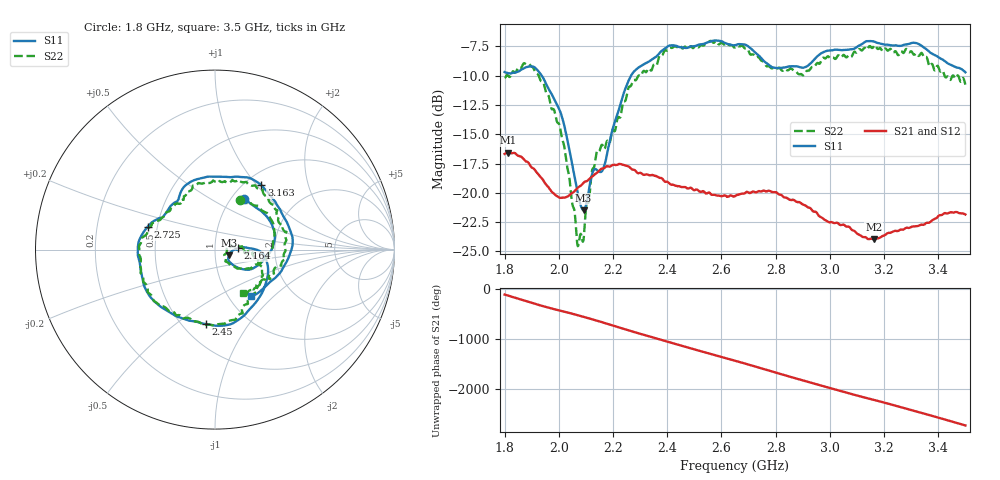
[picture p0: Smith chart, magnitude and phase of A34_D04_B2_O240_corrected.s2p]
! Created with skrf 1.9.0 (http://scikit-rf.org).
# Hz S RI R 50.0
!freq ReS11 ImS11 ReS21 ImS21 ReS12 ImS12 ReS22 ImS22
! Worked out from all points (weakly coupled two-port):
!   1601 points, 1.8 GHz to 3.5 GHz, reference 50 ohm
!   highest |S21| = -16.58 dB at 1.812 GHz (marker M1); lowest = -24.0 dB at 3.162 GHz (marker M2)
!   lowest |S11| = -21.5 dB at 2.091 GHz (marker M3), VSWR 1.18, Z = 58.3 - j3.67 ohm
!   |S11| at or under -10 dB: 1.937 GHz to 2.267 GHz (329.6 MHz wide, 15.7 % of centre)
!   |S22| runs from -24.6 to -7.0 dB; largest |S21 - S12| = 0.0024
!   S11 on the Smith chart (normalised r, x): 1.8 GHz: 1.14, +0.73; 2.164 GHz: 1.29, +0.02; 2.45 GHz: 0.64, -0.65; 2.725 GHz: 0.44, +0.13; 3.163 GHz: 1.18, +1.06; 3.5 GHz: 1.26, -0.73
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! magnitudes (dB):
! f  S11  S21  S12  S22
! 1.8 GHz  -9.7  -16.7  -16.7  -10.2
! 1.812 GHz  -9.8  -16.6  -16.6  -10.0
! 1.883 GHz  -9.3  -17.4  -17.4  -9.0
! 1.942 GHz  -10.2  -18.9  -18.9  -10.6
! 2.011 GHz  -13.5  -20.4  -20.4  -15.3
! 2.068 GHz  -19.8  -19.6  -19.6  -24.3
! 2.084 GHz  -21.3  -19.3  -19.3  -23.7
! 2.091 GHz  -21.5  -19.2  -19.2  -24.0
! 2.129 GHz  -18.0  -18.5  -18.5  -17.8
! 2.164 GHz  -17.9  -17.9  -17.9  -16.1
! 2.261 GHz  -10.2  -17.8  -17.8  -10.9
! 2.367 GHz  -8.2  -18.7  -18.6  -8.6
! 2.45 GHz  -7.6  -19.5  -19.5  -7.5
! 2.65 GHz  -7.4  -20.3  -20.2  -7.6
! 2.725 GHz  -8.0  -20.0  -19.9  -8.4
! 2.797 GHz  -9.3  -19.9  -19.9  -9.3
! 2.934 GHz  -8.9  -21.5  -21.4  -9.3
! 3.162 GHz  -7.1  -24.0  -23.9  -7.5
! 3.163 GHz  -7.1  -24.0  -23.9  -7.4
! 3.217 GHz  -7.4  -23.4  -23.4  -7.8
! 3.323 GHz  -7.2  -22.8  -22.8  -8.2
! 3.5 GHz  -9.7  -21.8  -21.8  -10.8
